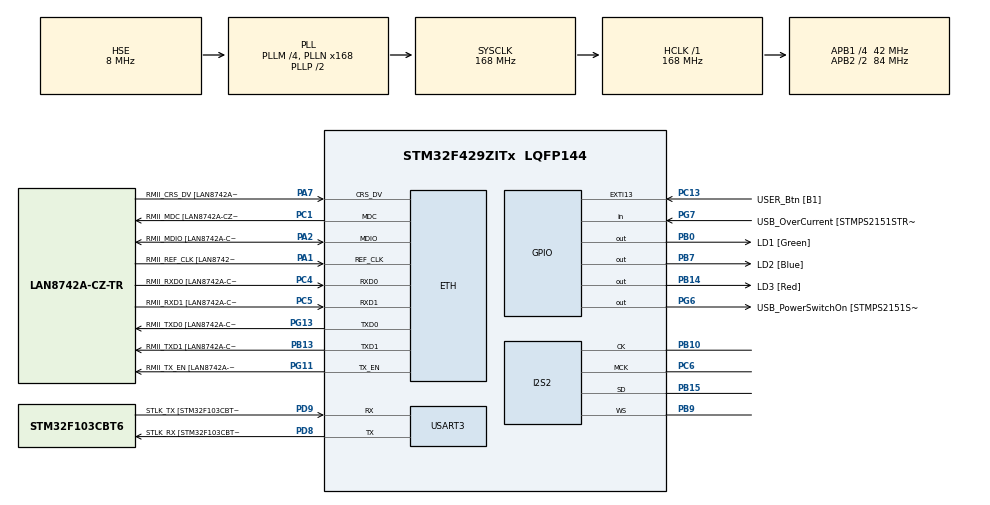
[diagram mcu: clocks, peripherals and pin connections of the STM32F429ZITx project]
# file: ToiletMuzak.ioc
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Dma.Request0=SPI2_TX
Dma.SPI2_TX.0.Direction=DMA_MEMORY_TO_PERIPH
Dma.SPI2_TX.0.FIFOMode=DMA_FIFOMODE_DISABLE
Dma.SPI2_TX.0.Instance=DMA1_Stream4
Dma.SPI2_TX.0.MemDataAlignment=DMA_MDATAALIGN_HALFWORD
Dma.SPI2_TX.0.MemInc=DMA_MINC_ENABLE
Dma.SPI2_TX.0.Mode=DMA_CIRCULAR
Dma.SPI2_TX.0.PeriphDataAlignment=DMA_PDATAALIGN_HALFWORD
Dma.SPI2_TX.0.PeriphInc=DMA_PINC_DISABLE
Dma.SPI2_TX.0.Priority=DMA_PRIORITY_HIGH
ETH.MediaInterface=HAL_ETH_RMII_MODE
ETH.PHY_Name=LAN8742A_PHY_ADDRESS
ETH.PHY_Value=0
ETH.PhyAddress=0
I2S2.AudioFreq=I2S_AUDIOFREQ_44K
I2S2.ErrorAudioFreq=0.26 %
I2S2.FullDuplexMode=I2S_FULLDUPLEXMODE_DISABLE
I2S2.Instance=SPI$Index
I2S2.RealAudioFreq=44.117 KHz
I2S2.VirtualMode=I2S_MODE_MASTER
LWIP.BSP.number=1
LWIP.IP_ADDRESS=192.168.000.123
LWIP.LWIP_DHCP=0
LWIP.LWIP_TCP=0
LWIP.NETMASK_ADDRESS=255.255.255.000
LWIP.Version=v2.1.2_Cube
LWIP0.BSP.STBoard=false
LWIP0.BSP.api=BSP_COMPONENT_DRIVER
LWIP0.BSP.component=LAN8742
LWIP0.BSP.instance=LAN8742
LWIP0.BSP.name=Driver_PHY
LWIP0.BSP.semaphore=S_LAN8742
LWIP0.BSP.solution=LAN8742
Mcu.Family=STM32F4
Mcu.Name=STM32F429ZITx
Mcu.Package=LQFP144
NVIC.DMA1_Stream4_IRQn=true\:0\:0\:false\:false\:true\:false\:true\:true
NVIC.PriorityGroup=NVIC_PRIORITYGROUP_4
PA1.GPIO_Label=RMII_REF_CLK [LAN8742A-CZ-TR_REFCLK0]
PA1.Mode=RMII
PA1.Signal=ETH_REF_CLK
PA10.GPIO_Label=USB_ID
PA10.Signal=USB_OTG_FS_ID
PA11.GPIO_Label=USB_DM
PA11.Signal=USB_OTG_FS_DM
PA12.GPIO_Label=USB_DP
PA12.Signal=USB_OTG_FS_DP
PA13.GPIO_Label=TMS
PA13.Mode=Serial_Wire
PA13.Signal=SYS_JTMS-SWDIO
PA14.GPIO_Label=TCK
PA14.Mode=Serial_Wire
PA14.Signal=SYS_JTCK-SWCLK
PA2.GPIO_Label=RMII_MDIO [LAN8742A-CZ-TR_MDIO]
PA2.Mode=RMII
PA2.Signal=ETH_MDIO
PA7.GPIO_Label=RMII_CRS_DV [LAN8742A-CZ-TR_CRS_DV]
PA7.Mode=RMII
PA7.Signal=ETH_CRS_DV
PA8.GPIO_Label=USB_SOF [TP1]
PA8.Signal=USB_OTG_FS_SOF
PA9.GPIO_Label=USB_VBUS
PA9.Signal=USB_OTG_FS_VBUS
PB0.GPIO_Label=LD1 [Green]
PB0.Signal=GPIO_Output
PB10.Mode=Half_Duplex_Master
PB10.Signal=I2S2_CK
PB13.GPIO_Label=RMII_TXD1 [LAN8742A-CZ-TR_TXD1]
PB13.Mode=RMII
PB13.Signal=ETH_TXD1
PB14.GPIO_Label=LD3 [Red]
PB14.Signal=GPIO_Output
PB15.Mode=Half_Duplex_Master
PB15.Signal=I2S2_SD
PB7.GPIO_Label=LD2 [Blue]
PB7.Signal=GPIO_Output
PB9.Mode=Half_Duplex_Master
PB9.Signal=I2S2_WS
PC1.GPIO_Label=RMII_MDC [LAN8742A-CZ-TR_MDC]
PC1.Mode=RMII
PC1.Signal=ETH_MDC
PC13.GPIO_Label=USER_Btn [B1]
PC13.Signal=GPXTI13
PC14/OSC32_IN.Mode=LSE-External-Oscillator
PC14/OSC32_IN.Signal=RCC_OSC32_IN
PC15/OSC32_OUT.Mode=LSE-External-Oscillator
PC15/OSC32_OUT.Signal=RCC_OSC32_OUT
PC4.GPIO_Label=RMII_RXD0 [LAN8742A-CZ-TR_RXD0]
PC4.Mode=RMII
PC4.Signal=ETH_RXD0
PC5.GPIO_Label=RMII_RXD1 [LAN8742A-CZ-TR_RXD1]
PC5.Mode=RMII
PC5.Signal=ETH_RXD1
PC6.Mode=Master_Clock_Activated
PC6.Signal=I2S2_MCK
PD8.GPIO_Label=STLK_RX [STM32F103CBT6_PA3]
PD8.Mode=Asynchronous
PD8.Signal=USART3_TX
PD9.GPIO_Label=STLK_TX [STM32F103CBT6_PA2]
PD9.Mode=Asynchronous
PD9.Signal=USART3_RX
PG11.GPIO_Label=RMII_TX_EN [LAN8742A-CZ-TR_TXEN]
PG11.Mode=RMII
PG11.Signal=ETH_TX_EN
PG13.GPIO_Label=RMII_TXD0 [LAN8742A-CZ-TR_TXD0]
PG13.Mode=RMII
PG13.Signal=ETH_TXD0
PG6.GPIO_Label=USB_PowerSwitchOn [STMPS2151STR_EN]
PG6.Signal=GPIO_Output
PG7.GPIO_Label=USB_OverCurrent [STMPS2151STR_FAULT]
PG7.Signal=GPIO_Input
PH0/OSC_IN.GPIO_Label=MCO [STM32F103CBT6_PA8]
PH0/OSC_IN.Mode=HSE-External-Clock-Source
PH0/OSC_IN.Signal=RCC_OSC_IN
PH1/OSC_OUT.Mode=HSE-External-Clock-Source
PH1/OSC_OUT.Signal=RCC_OSC_OUT
ProjectManager.HeapSize=0x200
ProjectManager.StackSize=0x400
ProjectManager.TargetToolchain=Makefile
RCC.48MHZClocksFreq_Value=48000000
RCC.AHBFreq_Value=168000000
RCC.APB1CLKDivider=RCC_HCLK_DIV4
RCC.APB1Freq_Value=42000000
RCC.APB1TimFreq_Value=84000000
RCC.APB2CLKDivider=RCC_HCLK_DIV2
RCC.APB2Freq_Value=84000000
RCC.APB2TimCLKDivider=2
RCC.APB2TimFreq_Value=168000000
RCC.CortexFreq_Value=168000000
RCC.HCLKFreq_Value=168000000
RCC.HSE_VALUE=8000000
RCC.HSI_VALUE=16000000
RCC.PLLM=4
RCC.PLLMUL=RCC_PLL_MUL9
RCC.PLLN=168
RCC.PLLQ=7
RCC.PLLSourceVirtual=RCC_PLLSOURCE_HSE
RCC.PRESCALERUSB=RCC_USBCLKSOURCE_PLL_DIV1_5
RCC.SYSCLKFreq_VALUE=168000000
RCC.SYSCLKSource=RCC_SYSCLKSOURCE_PLLCLK
RCC.SYSCLKSourceVirtual=RCC_SYSCLKSOURCE_PLLCLK
RCC.USBFreq_Value=48000000
RCC.VCOOutputFreq_Value=336000000
USART3.VirtualMode=VM_ASYNC
VP_LWIP_VS_Enabled.Mode=Enabled
board=NUCLEO-F429ZI

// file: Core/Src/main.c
/* USER CODE BEGIN Header */
/**
  ******************************************************************************
  * @file           : main.c
  * @brief          : Main program body
  ******************************************************************************
  * @attention
  *
  * Copyright (c) 2023 STMicroelectronics.
  * All rights reserved.
  *
  * This software is licensed under terms that can be found in the LICENSE file
  * in the root directory of this software component.
  * If no LICENSE file comes with this software, it is provided AS-IS.
  *
  ******************************************************************************
  */
/* USER CODE END Header */
#include "main.h"
#include "dma.h"
#include "i2s.h"
#include "lwip.h"
#include "usart.h"
#include "gpio.h"

/* USER CODE BEGIN Includes */
#include <string.h>
#include <stdbool.h>
/* USER CODE END Includes */

/* USER CODE BEGIN PTD */
enum GLOBAL_STATE {
  STATE_ERROR,
  STATE_IDLE,
  STATE_INIT,
  STATE_FILL_BUF,
  STATE_START_I2S,
  STATE_PLAYING
} ;

enum I2S_STATE {
  STATE_NONE,
  STATE_HALFCPLT,
  STATE_CPLT
} ;
/* USER CODE END PTD */

/* USER CODE BEGIN PD */
#define RECV_BUF_SIZE 64000
#define I2S_BUF_SIZE 4000
#define I2S_BUF_SIZE_HALF (I2S_BUF_SIZE/2)
/* USER CODE END PD */

/* USER CODE BEGIN PV */
enum GLOBAL_STATE global_state = STATE_IDLE;
volatile enum I2S_STATE i2s_state = STATE_NONE;
volatile bool wav_data_available = false;

struct {
  void* ptr;
  uint16_t len;
} udp_payload;
uint8_t *recv_buf_ptr_write;
uint8_t *recv_buf_ptr_read;

uint8_t recv_buffer[RECV_BUF_SIZE];
uint8_t i2s_buffer[I2S_BUF_SIZE];

int num_samples_received = 0;

#pragma pack(1)
typedef struct {
  unsigned char ckid_riff[4];
  unsigned int cksize;
  unsigned char ckid_wave[4];
  unsigned char ckid_fmt[4];
  unsigned int samplesize;
  unsigned short wFormatTag;
  unsigned short nChannels;
  unsigned int nSamplesPerSec;
  unsigned int nAvgBytesPerSec;
  unsigned short nBlockAlign;
  unsigned short wBitsPerSample;
  unsigned char ckid_data[4];
  unsigned int datasize;
} WAVEFILE_HDR;

#pragma pack(1)
WAVEFILE_HDR* wavhdr;
/* USER CODE END PV */

void SystemClock_Config(void);

/* USER CODE BEGIN 0 */
void udp_recv_fn_callback(void *arg, struct udp_pcb *pcb, struct pbuf *p, const ip_addr_t *addr, u16_t port) {
  if (port != 1337) {
    return;
  }
  memcpy(recv_buf_ptr_write, (uint8_t*)p->payload, p->len);
  recv_buf_ptr_write = (recv_buf_ptr_write+p->len >= recv_buffer+RECV_BUF_SIZE) ? recv_buffer : recv_buf_ptr_write+p->len;
  num_samples_received += p->len;
  pbuf_free(p);
  wav_data_available = true;
}

void HAL_I2S_TxHalfCpltCallback(I2S_HandleTypeDef *hi2s) {
  i2s_state = STATE_HALFCPLT;
}

void HAL_I2S_TxCpltCallback(I2S_HandleTypeDef *hi2s) {
  i2s_state = STATE_CPLT;
}
/* USER CODE END 0 */

int main(void)
{

  /* MCU Configuration--------------------------------------------------------*/

  /* Reset of all peripherals, Initializes the Flash interface and the Systick. */
  HAL_Init();

  /* Configure the system clock */
  SystemClock_Config();

  /* Initialize all configured peripherals */
  MX_GPIO_Init();
  MX_DMA_Init();
  MX_USART3_UART_Init();
  MX_I2S2_Init();
  MX_LWIP_Init();
  /* USER CODE BEGIN 2 */

  recv_buf_ptr_write = recv_buffer;
  recv_buf_ptr_read = recv_buffer;

  int samples_counter = 0;

  // allocate memory for header
  wavhdr = (WAVEFILE_HDR*)malloc(sizeof(WAVEFILE_HDR));

  // temp
  memset(i2s_buffer, 0, I2S_BUF_SIZE);
  HAL_I2S_MspInit(&hi2s2);

  /* USER CODE END 2 */

  /* Infinite loop */
  /* USER CODE BEGIN WHILE */
  while (1)
  {
    MX_LWIP_Process();
    switch (global_state)
    {
      case STATE_IDLE:
        if(wav_data_available) {
          global_state = STATE_INIT;
        }
        break;

      case STATE_INIT:
        // here we assume that if we have just entered init, we are guaranteed to have at least WAVE header data available
        memcpy((uint8_t*)wavhdr, recv_buf_ptr_read, sizeof(WAVEFILE_HDR));
        recv_buf_ptr_read += sizeof(WAVEFILE_HDR);
        // copy initial wav data
        if(recv_buf_ptr_write-recv_buffer >= I2S_BUF_SIZE+sizeof(WAVEFILE_HDR)) {
          memcpy(i2s_buffer, recv_buf_ptr_read, I2S_BUF_SIZE);
          global_state = STATE_START_I2S;
        } else {
          global_state = STATE_FILL_BUF;
        }
        break;

      case STATE_FILL_BUF:
        if(recv_buf_ptr_write-recv_buffer < I2S_BUF_SIZE+sizeof(WAVEFILE_HDR)) {
          // not enough data received (yet?)
          global_state = STATE_FILL_BUF;
        } else {
          memcpy(i2s_buffer, recv_buf_ptr_read, I2S_BUF_SIZE);
          global_state = STATE_START_I2S;
        }
        break;

      case STATE_START_I2S:
        HAL_I2S_Transmit_DMA(&hi2s2, (uint16_t*)i2s_buffer, I2S_BUF_SIZE_HALF);
        global_state = STATE_PLAYING;
        break;

      case STATE_PLAYING:
        switch (i2s_state) {

          case STATE_HALFCPLT:
            memcpy(i2s_buffer, recv_buf_ptr_read, I2S_BUF_SIZE_HALF);
            recv_buf_ptr_read = (recv_buf_ptr_read+I2S_BUF_SIZE >= recv_buffer+RECV_BUF_SIZE) ? recv_buffer : recv_buf_ptr_read+I2S_BUF_SIZE_HALF;

            i2s_state = STATE_NONE;
            break;

          case STATE_CPLT:
            memcpy((uint8_t*)(i2s_buffer+I2S_BUF_SIZE_HALF), recv_buf_ptr_read, I2S_BUF_SIZE_HALF);
            recv_buf_ptr_read = (recv_buf_ptr_read+I2S_BUF_SIZE >= recv_buffer+RECV_BUF_SIZE) ? recv_buffer : recv_buf_ptr_read+I2S_BUF_SIZE_HALF;

            //samples_counter += I2S_BUF_SIZE;

            if (samples_counter >= wavhdr->datasize) {
              samples_counter = 0;
              HAL_I2S_DMAStop(&hi2s2);
              global_state = STATE_IDLE;
              wav_data_available = false;
            }
            i2s_state = STATE_NONE;
            break;

          case STATE_NONE:
          default:
            break;
        }
        break;

      case STATE_ERROR:
        break;

      default:
        break;
    }
    /* USER CODE END WHILE */

  }
}

void SystemClock_Config(void)
{
  RCC_OscInitTypeDef RCC_OscInitStruct = {0};
  RCC_ClkInitTypeDef RCC_ClkInitStruct = {0};

  /** Configure the main internal regulator output voltage
  */
  __HAL_RCC_PWR_CLK_ENABLE();
  __HAL_PWR_VOLTAGESCALING_CONFIG(PWR_REGULATOR_VOLTAGE_SCALE1);

  /** Initializes the RCC Oscillators according to the specified parameters
  * in the RCC_OscInitTypeDef structure.
  */
  RCC_OscInitStruct.OscillatorType = RCC_OSCILLATORTYPE_HSE;
  RCC_OscInitStruct.HSEState = RCC_HSE_BYPASS;
  RCC_OscInitStruct.PLL.PLLState = RCC_PLL_ON;
  RCC_OscInitStruct.PLL.PLLSource = RCC_PLLSOURCE_HSE;
  RCC_OscInitStruct.PLL.PLLM = 4;
  RCC_OscInitStruct.PLL.PLLN = 168;
  RCC_OscInitStruct.PLL.PLLP = RCC_PLLP_DIV2;
  RCC_OscInitStruct.PLL.PLLQ = 7;
  if (HAL_RCC_OscConfig(&RCC_OscInitStruct) != HAL_OK)
  {
    Error_Handler();
  }

  /** Initializes the CPU, AHB and APB buses clocks
  */
  RCC_ClkInitStruct.ClockType = RCC_CLOCKTYPE_HCLK|RCC_CLOCKTYPE_SYSCLK
                              |RCC_CLOCKTYPE_PCLK1|RCC_CLOCKTYPE_PCLK2;
  RCC_ClkInitStruct.SYSCLKSource = RCC_SYSCLKSOURCE_PLLCLK;
  RCC_ClkInitStruct.AHBCLKDivider = RCC_SYSCLK_DIV1;
  RCC_ClkInitStruct.APB1CLKDivider = RCC_HCLK_DIV4;
  RCC_ClkInitStruct.APB2CLKDivider = RCC_HCLK_DIV2;

  if (HAL_RCC_ClockConfig(&RCC_ClkInitStruct, FLASH_LATENCY_5) != HAL_OK)
  {
    Error_Handler();
  }
}

void Error_Handler(void)
{
  __disable_irq();
  while (1)
  {
  }
}
